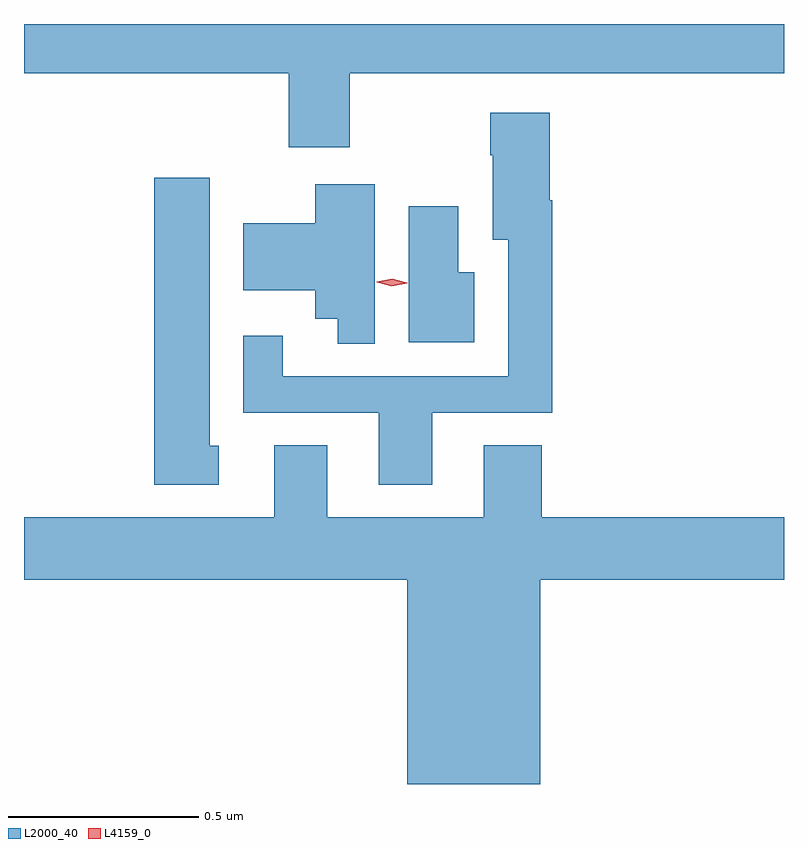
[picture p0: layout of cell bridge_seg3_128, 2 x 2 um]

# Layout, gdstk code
import gdstk
lib = gdstk.Library(unit=1e-6, precision=1e-09)
def P(c, l, *ps):  # polygons
    for p in ps: c.add(gdstk.Polygon(p, *l))
L2000_40 = (2000, 40)
L4159_0 = (4159, 0)

bridge_seg3_128 = lib.new_cell('bridge_seg3_128')
P(bridge_seg3_128, L2000_40, [(150.324,668.948),(151.467,668.948),(151.467,669.078),(149.467,669.078),(149.467,668.948),(150.164,668.948),(150.164,668.754),(150.324,668.754)],
  [(150.541,668.055),(150.857,668.055),(150.857,668.614),(150.851,668.614),(150.851,668.845),(150.694,668.845),(150.694,668.732),(150.701,668.732),(150.701,668.51),(150.741,668.51),(150.741,668.151),(150.148,668.151),(150.148,668.257),(150.044,668.257),(150.044,668.055),(150.401,668.055),(150.401,667.866),(150.541,667.866)],
  [(149.98,667.968),(149.956,667.968),(149.956,668.674),(149.81,668.674),(149.81,667.866),(149.98,667.866)],
  [(150.39,668.656),(150.233,668.656),(150.233,668.554),(150.044,668.554),(150.044,668.378),(150.233,668.378),(150.233,668.303),(150.293,668.303),(150.293,668.236),(150.39,668.236)],
  [(150.652,668.425),(150.61,668.425),(150.61,668.599),(150.479,668.599),(150.479,668.24),(150.652,668.24)],
  [(150.826,667.616),(151.467,667.616),(151.467,667.78),(150.83,667.78),(150.83,667.97),(150.677,667.97),(150.677,667.78),(150.265,667.78),(150.265,667.97),(150.125,667.97),(150.125,667.78),(149.467,667.78),(149.467,667.616),(150.476,667.616),(150.476,667.078),(150.826,667.078)])
P(bridge_seg3_128, L4159_0, [(150.435,668.388),(150.395,668.399),(150.395,668.4),(150.395,668.4),(150.436,668.408),(150.476,668.397),(150.476,668.397),(150.476,668.396)])

lib.write_gds('bridge_seg3_128.gds')
